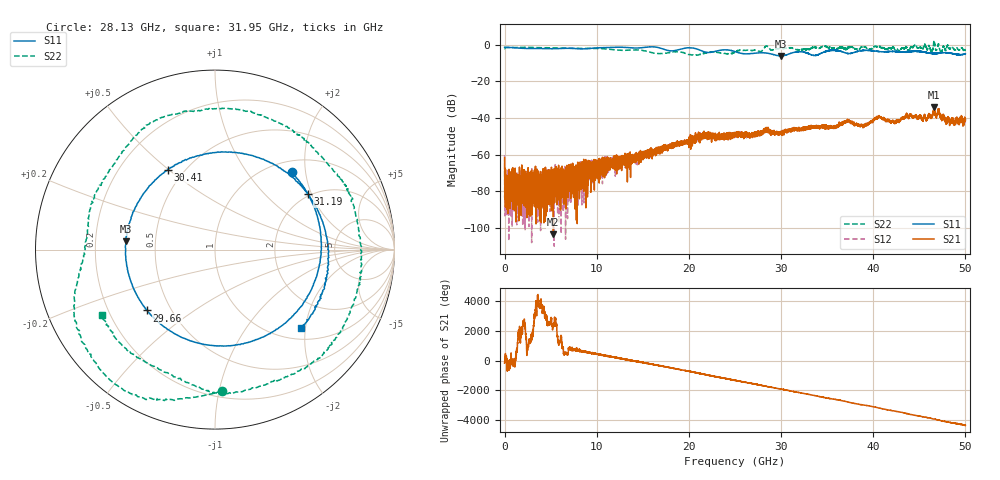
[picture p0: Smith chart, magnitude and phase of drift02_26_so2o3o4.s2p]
!Created with skrf (http://scikit-rf.org).
# Hz S RI R 50.0
!freq ReS11 ImS11 ReS21 ImS21 ReS12 ImS12 ReS22 ImS22
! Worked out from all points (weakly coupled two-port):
!   10001 points, 300 kHz to 50 GHz, reference 50 ohm
!   highest |S21| = -33.89 dB at 46.61 GHz (marker M1); lowest = -103.4 dB at 5.29 GHz (marker M2)
!   lowest |S11| = -6.1 dB at 30.01 GHz (marker M3), VSWR 2.98, Z = 16.8 + j2.09 ohm
!   |S11| at or under -10 dB: nowhere
!   |S22| runs from -5.7 to 2.4 dB; largest |S21 - S12| = 0.0037
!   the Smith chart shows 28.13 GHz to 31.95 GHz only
!   S11 on the Smith chart (normalised r, x): 28.13 GHz: 1.23, +1.68; 29.66 GHz: 0.37, -0.34; 30.41 GHz: 0.41, +0.50; 31.19 GHz: 1.94, +1.88; 31.95 GHz: 1.24, -1.90
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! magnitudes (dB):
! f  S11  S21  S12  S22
! 300 kHz  -1.3  -61.7  -60.2  -2.1
! 255.3 MHz  -1.4  -81.4  -74.1  -1.4
! 5.29 GHz  -2.1  -103.4  -73.7  -1.6
! 8.335 GHz  -2.2  -70.5  -69.4  -1.9
! 16.67 GHz  -1.5  -57.3  -58.6  -4.7
! 21.53 GHz  -3.6  -50.0  -49.3  -4.7
! 25 GHz  -3.7  -48.7  -49.1  -3.9
! 28.13 GHz  -4.3  -47.2  -47.5  -2.1
! 29.66 GHz  -5.9  -47.4  -48.6  -2.1
! 30.01 GHz  -6.1  -47.5  -48.0  -2.0
! 30.41 GHz  -5.7  -46.3  -47.1  -1.9
! 31.19 GHz  -4.4  -46.3  -46.6  -1.7
! 31.95 GHz  -3.7  -45.0  -45.8  -2.7
! 33.34 GHz  -5.5  -45.2  -45.1  -1.6
! 35.59 GHz  -3.0  -44.8  -45.1  -1.6
! 37.28 GHz  -4.8  -41.4  -41.8  -1.3
! 38.94 GHz  -3.1  -44.1  -44.2  -1.5
! 40.6 GHz  -3.6  -39.3  -39.0  -1.0
! 41.67 GHz  -3.6  -41.8  -40.7  -1.9
! 46.61 GHz  -4.8  -33.9  -34.7  2.2
! 48.1 GHz  -4.3  -40.3  -39.7  -0.3
! 50 GHz  -5.0  -41.3  -40.2  -2.7
